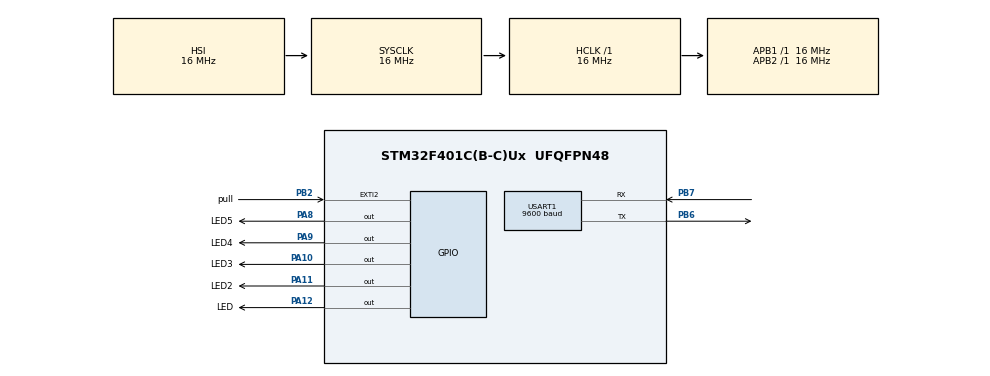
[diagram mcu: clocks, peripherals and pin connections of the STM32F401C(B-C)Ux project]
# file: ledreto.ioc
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Dma.Request0=USART1_RX
Dma.USART1_RX.0.Direction=DMA_PERIPH_TO_MEMORY
Dma.USART1_RX.0.FIFOMode=DMA_FIFOMODE_DISABLE
Dma.USART1_RX.0.Instance=DMA2_Stream2
Dma.USART1_RX.0.MemDataAlignment=DMA_MDATAALIGN_BYTE
Dma.USART1_RX.0.MemInc=DMA_MINC_ENABLE
Dma.USART1_RX.0.Mode=DMA_NORMAL
Dma.USART1_RX.0.PeriphDataAlignment=DMA_PDATAALIGN_BYTE
Dma.USART1_RX.0.PeriphInc=DMA_PINC_DISABLE
Dma.USART1_RX.0.Priority=DMA_PRIORITY_LOW
Mcu.Family=STM32F4
Mcu.Name=STM32F401C(B-C)Ux
Mcu.Package=UFQFPN48
NVIC.DMA2_Stream2_IRQn=true\:0\:0\:false\:false\:true\:false\:true\:true
NVIC.EXTI2_IRQn=true\:0\:0\:true\:false\:true\:true\:true\:true
NVIC.PriorityGroup=NVIC_PRIORITYGROUP_2
NVIC.TIM2_IRQn=true\:1\:0\:true\:false\:true\:true\:true\:true
NVIC.USART1_IRQn=true\:0\:0\:false\:false\:true\:true\:true\:true
PA10.GPIO_Label=LED3
PA10.Signal=GPIO_Output
PA11.GPIO_Label=LED2
PA11.Signal=GPIO_Output
PA12.GPIO_Label=LED
PA12.Signal=GPIO_Output
PA8.GPIO_Label=LED5
PA8.Signal=GPIO_Output
PA9.GPIO_Label=LED4
PA9.Signal=GPIO_Output
PB2.GPIO_Label=pull
PB2.GPIO_ModeDefaultEXTI=GPIO_MODE_IT_FALLING
PB2.GPIO_PuPd=GPIO_PULLUP
PB2.Signal=GPXTI2
PB6.Mode=Asynchronous
PB6.Signal=USART1_TX
PB7.Mode=Asynchronous
PB7.Signal=USART1_RX
ProjectManager.HeapSize=0x200
ProjectManager.StackSize=0x400
ProjectManager.TargetToolchain=CMake
RCC.AHBFreq_Value=16000000
RCC.APB1Freq_Value=16000000
RCC.APB2Freq_Value=16000000
RCC.CortexFreq_Value=16000000
RCC.HSE_VALUE=25000000
RCC.HSI_VALUE=16000000
RCC.LSE_VALUE=32768
RCC.SYSCLKFreq_VALUE=16000000
RCC.VCOOutputFreq_Value=192000000
TIM2.AutoReloadPreload=TIM_AUTORELOAD_PRELOAD_ENABLE
TIM2.Period=99
TIM2.Prescaler=16000-1
USART1.BaudRate=9600
USART1.VirtualMode=VM_ASYNC
VP_TIM2_VS_ClockSourceINT.Mode=Internal
board=custom

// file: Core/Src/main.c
/* USER CODE BEGIN Header */
/**
  ******************************************************************************
  * @file           : main.c
  * @brief          : Main program body
  ******************************************************************************
  * @attention
  *
  * Copyright (c) 2026 STMicroelectronics.
  * All rights reserved.
  *
  * This software is licensed under terms that can be found in the LICENSE file
  * in the root directory of this software component.
  * If no LICENSE file comes with this software, it is provided AS-IS.
  *
  ******************************************************************************
  */
/* USER CODE END Header */
#include "main.h"

/* USER CODE BEGIN Includes */
#include "stdio.h"
#include "string.h"
#include "stdlib.h"
#include "stdbool.h"
#include "ctype.h"
#include "math.h"
#include "stdint.h"
#include "uart.h"
#include "UARTRX.h"
/* USER CODE END Includes */

TIM_HandleTypeDef htim2;

UART_HandleTypeDef huart1;
DMA_HandleTypeDef hdma_usart1_rx;

void SystemClock_Config(void);
static void MX_GPIO_Init(void);
static void MX_DMA_Init(void);
static void MX_TIM2_Init(void);
static void MX_USART1_UART_Init(void);

/* USER CODE BEGIN 0 */
void procesa_rx(void)
{
  static char comando[16];
  static size_t longitud_comando = 0;
  static bool comando_excedido = false;

  for (uint16_t i = 0; i < UARTRX1.num_datos; i++)
  {
    char caracter = (char)UARTRX1.trama_rx[i];

    if (caracter == '*')
    {
      if (!comando_excedido)
      {
        comando[longitud_comando] = '\0';
        char *inicio = comando;
        while (isspace((unsigned char)*inicio))
        {
          inicio++;
        }

        size_t longitud = strlen(inicio);
        while (longitud > 0U && isspace((unsigned char)inicio[longitud - 1U]))
        {
          inicio[--longitud] = '\0';
        }

        if (strcmp(inicio, "LED ON") == 0)
        {
          HAL_GPIO_WritePin(LED5_GPIO_Port, LED5_Pin, GPIO_PIN_SET);
        }
        else if (strcmp(inicio, "LED OF") == 0 ||
                 strcmp(inicio, "LED OFF") == 0)
        {
          HAL_GPIO_WritePin(LED5_GPIO_Port, LED5_Pin, GPIO_PIN_RESET);
        }
      }

      longitud_comando = 0;
      comando_excedido = false;
    }
    else if (caracter != '\r' && caracter != '\n')
    {
      if (!comando_excedido && longitud_comando < sizeof(comando) - 1U)
      {
        comando[longitud_comando++] = caracter;
      }
      else if (!comando_excedido)
      {
        longitud_comando = 0;
        comando_excedido = true;
      }
    }
  }
}
/* USER CODE END 0 */

int main(void)
{

  /* MCU Configuration--------------------------------------------------------*/

  /* Reset of all peripherals, Initializes the Flash interface and the Systick. */
  HAL_Init();

  /* Configure the system clock */
  SystemClock_Config();

  /* Initialize all configured peripherals */
  MX_GPIO_Init();
  MX_DMA_Init();
  MX_TIM2_Init();
  MX_USART1_UART_Init();
  /* USER CODE BEGIN 2 */
  HAL_TIM_Base_Start_IT(&htim2);
  uartRX_it_idle_dma_init( &UARTRX1);
  /* USER CODE END 2 */

  /* Infinite loop */
  while (1)
  {

    /* USER CODE BEGIN 3 */
    HAL_GPIO_TogglePin(LED_GPIO_Port, LED_Pin);
    HAL_Delay(100);
    if (UARTRX1.flag_rx==1)
	  {
	     uartx_write_buffer(&huart1, UARTRX1.trama_rx, UARTRX1.num_datos);
	      procesa_rx(); //procedimeinto donde se procesan los datos
		  uartRX_DMA_Re_init(&UARTRX1);
	  }
  }
  /* USER CODE END 3 */
}

void SystemClock_Config(void)
{
  RCC_OscInitTypeDef RCC_OscInitStruct = {0};
  RCC_ClkInitTypeDef RCC_ClkInitStruct = {0};

  /** Configure the main internal regulator output voltage
  */
  __HAL_RCC_PWR_CLK_ENABLE();
  __HAL_PWR_VOLTAGESCALING_CONFIG(PWR_REGULATOR_VOLTAGE_SCALE2);

  /** Initializes the RCC Oscillators according to the specified parameters
  * in the RCC_OscInitTypeDef structure.
  */
  RCC_OscInitStruct.OscillatorType = RCC_OSCILLATORTYPE_HSI;
  RCC_OscInitStruct.HSIState = RCC_HSI_ON;
  RCC_OscInitStruct.HSICalibrationValue = RCC_HSICALIBRATION_DEFAULT;
  RCC_OscInitStruct.PLL.PLLState = RCC_PLL_NONE;
  if (HAL_RCC_OscConfig(&RCC_OscInitStruct) != HAL_OK)
  {
    Error_Handler();
  }

  /** Initializes the CPU, AHB and APB buses clocks
  */
  RCC_ClkInitStruct.ClockType = RCC_CLOCKTYPE_HCLK|RCC_CLOCKTYPE_SYSCLK
                              |RCC_CLOCKTYPE_PCLK1|RCC_CLOCKTYPE_PCLK2;
  RCC_ClkInitStruct.SYSCLKSource = RCC_SYSCLKSOURCE_HSI;
  RCC_ClkInitStruct.AHBCLKDivider = RCC_SYSCLK_DIV1;
  RCC_ClkInitStruct.APB1CLKDivider = RCC_HCLK_DIV1;
  RCC_ClkInitStruct.APB2CLKDivider = RCC_HCLK_DIV1;

  if (HAL_RCC_ClockConfig(&RCC_ClkInitStruct, FLASH_LATENCY_0) != HAL_OK)
  {
    Error_Handler();
  }
}

static void MX_TIM2_Init(void)
{

  TIM_ClockConfigTypeDef sClockSourceConfig = {0};
  TIM_MasterConfigTypeDef sMasterConfig = {0};

  htim2.Instance = TIM2;
  htim2.Init.Prescaler = 16000-1;
  htim2.Init.CounterMode = TIM_COUNTERMODE_UP;
  htim2.Init.Period = 99;
  htim2.Init.ClockDivision = TIM_CLOCKDIVISION_DIV1;
  htim2.Init.AutoReloadPreload = TIM_AUTORELOAD_PRELOAD_ENABLE;
  if (HAL_TIM_Base_Init(&htim2) != HAL_OK)
  {
    Error_Handler();
  }
  sClockSourceConfig.ClockSource = TIM_CLOCKSOURCE_INTERNAL;
  if (HAL_TIM_ConfigClockSource(&htim2, &sClockSourceConfig) != HAL_OK)
  {
    Error_Handler();
  }
  sMasterConfig.MasterOutputTrigger = TIM_TRGO_RESET;
  sMasterConfig.MasterSlaveMode = TIM_MASTERSLAVEMODE_DISABLE;
  if (HAL_TIMEx_MasterConfigSynchronization(&htim2, &sMasterConfig) != HAL_OK)
  {
    Error_Handler();
  }

}

static void MX_USART1_UART_Init(void)
{

  huart1.Instance = USART1;
  huart1.Init.BaudRate = 9600;
  huart1.Init.WordLength = UART_WORDLENGTH_8B;
  huart1.Init.StopBits = UART_STOPBITS_1;
  huart1.Init.Parity = UART_PARITY_NONE;
  huart1.Init.Mode = UART_MODE_TX_RX;
  huart1.Init.HwFlowCtl = UART_HWCONTROL_NONE;
  huart1.Init.OverSampling = UART_OVERSAMPLING_16;
  if (HAL_UART_Init(&huart1) != HAL_OK)
  {
    Error_Handler();
  }

}

static void MX_DMA_Init(void)
{

  /* DMA controller clock enable */
  __HAL_RCC_DMA2_CLK_ENABLE();

  /* DMA interrupt init */
  /* DMA2_Stream2_IRQn interrupt configuration */
  HAL_NVIC_SetPriority(DMA2_Stream2_IRQn, 0, 0);
  HAL_NVIC_EnableIRQ(DMA2_Stream2_IRQn);

}

static void MX_GPIO_Init(void)
{
  GPIO_InitTypeDef GPIO_InitStruct = {0};

  /* GPIO Ports Clock Enable */
  __HAL_RCC_GPIOB_CLK_ENABLE();
  __HAL_RCC_GPIOA_CLK_ENABLE();

  /*Configure GPIO pin Output Level */
  HAL_GPIO_WritePin(GPIOA, LED5_Pin|LED4_Pin|LED3_Pin|LED2_Pin
                          |LED_Pin, GPIO_PIN_RESET);

  /*Configure GPIO pin : pull_Pin */
  GPIO_InitStruct.Pin = pull_Pin;
  GPIO_InitStruct.Mode = GPIO_MODE_IT_FALLING;
  GPIO_InitStruct.Pull = GPIO_PULLUP;
  HAL_GPIO_Init(pull_GPIO_Port, &GPIO_InitStruct);

  /*Configure GPIO pins : LED5_Pin LED4_Pin LED3_Pin LED2_Pin
                           LED_Pin */
  GPIO_InitStruct.Pin = LED5_Pin|LED4_Pin|LED3_Pin|LED2_Pin
                          |LED_Pin;
  GPIO_InitStruct.Mode = GPIO_MODE_OUTPUT_PP;
  GPIO_InitStruct.Pull = GPIO_NOPULL;
  GPIO_InitStruct.Speed = GPIO_SPEED_FREQ_LOW;
  HAL_GPIO_Init(GPIOA, &GPIO_InitStruct);

  /* EXTI interrupt init*/
  HAL_NVIC_SetPriority(EXTI2_IRQn, 0, 0);
  HAL_NVIC_EnableIRQ(EXTI2_IRQn);

}

void Error_Handler(void)
{
  __disable_irq();
  while (1)
  {
  }
}
